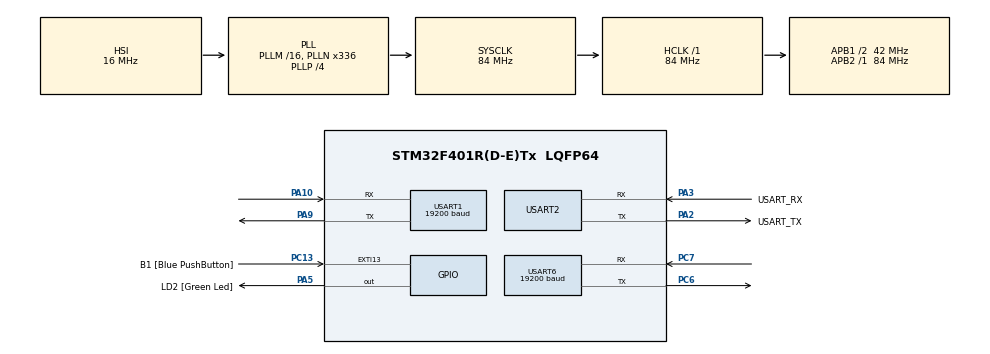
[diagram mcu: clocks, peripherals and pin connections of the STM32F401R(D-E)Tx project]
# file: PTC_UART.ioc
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Mcu.Family=STM32F4
Mcu.Name=STM32F401R(D-E)Tx
Mcu.Package=LQFP64
NVIC.PriorityGroup=NVIC_PRIORITYGROUP_0
NVIC.USART1_IRQn=true\:0\:0\:false\:false\:true\:true\:true\:true
NVIC.USART6_IRQn=true\:0\:0\:false\:false\:true\:true\:true\:true
PA10.Mode=Asynchronous
PA10.Signal=USART1_RX
PA13.GPIO_Label=TMS
PA13.Mode=Serial_Wire
PA13.Signal=SYS_JTMS-SWDIO
PA14.GPIO_Label=TCK
PA14.Mode=Serial_Wire
PA14.Signal=SYS_JTCK-SWCLK
PA2.GPIO_Label=USART_TX
PA2.GPIO_Mode=GPIO_MODE_AF_PP
PA2.GPIO_PuPd=GPIO_NOPULL
PA2.GPIO_Speed=GPIO_SPEED_FREQ_LOW
PA2.Mode=Asynchronous
PA2.Signal=USART2_TX
PA3.GPIO_Label=USART_RX
PA3.GPIO_Mode=GPIO_MODE_AF_PP
PA3.GPIO_PuPd=GPIO_NOPULL
PA3.GPIO_Speed=GPIO_SPEED_FREQ_LOW
PA3.Mode=Asynchronous
PA3.Signal=USART2_RX
PA5.GPIO_Label=LD2 [Green Led]
PA5.GPIO_Mode=GPIO_MODE_OUTPUT_PP
PA5.GPIO_PuPd=GPIO_NOPULL
PA5.GPIO_Speed=GPIO_SPEED_FREQ_LOW
PA5.Signal=GPIO_Output
PA9.Mode=Asynchronous
PA9.Signal=USART1_TX
PB3.GPIO_Label=SWO
PB3.Signal=SYS_JTDO-SWO
PC13-ANTI_TAMP.GPIO_Label=B1 [Blue PushButton]
PC13-ANTI_TAMP.GPIO_ModeDefaultEXTI=GPIO_MODE_IT_FALLING
PC13-ANTI_TAMP.GPIO_PuPd=GPIO_NOPULL
PC13-ANTI_TAMP.Signal=GPXTI13
PC14-OSC32_IN.Mode=LSE-External-Oscillator
PC14-OSC32_IN.Signal=RCC_OSC32_IN
PC15-OSC32_OUT.Mode=LSE-External-Oscillator
PC15-OSC32_OUT.Signal=RCC_OSC32_OUT
PC6.GPIO_ModeDefaultPP=GPIO_MODE_AF_OD
PC6.Mode=Asynchronous
PC6.Signal=USART6_TX
PC7.Mode=Asynchronous
PC7.Signal=USART6_RX
PH0\ -\ OSC_IN.Mode=HSE-External-Clock-Source
PH0\ -\ OSC_IN.Signal=RCC_OSC_IN
PH1\ -\ OSC_OUT.Mode=HSE-External-Clock-Source
PH1\ -\ OSC_OUT.Signal=RCC_OSC_OUT
ProjectManager.HeapSize=0x200
ProjectManager.StackSize=0x400
ProjectManager.TargetToolchain=STM32CubeIDE
RCC.48MHZClocksFreq_Value=48000000
RCC.AHBFreq_Value=84000000
RCC.APB1CLKDivider=RCC_HCLK_DIV2
RCC.APB1Freq_Value=42000000
RCC.APB1TimFreq_Value=84000000
RCC.APB2Freq_Value=84000000
RCC.APB2TimFreq_Value=84000000
RCC.CortexFreq_Value=84000000
RCC.HCLKFreq_Value=84000000
RCC.HSE_VALUE=8000000
RCC.HSI_VALUE=16000000
RCC.PLLN=336
RCC.PLLP=RCC_PLLP_DIV4
RCC.PLLQ=7
RCC.SYSCLKFreq_VALUE=84000000
RCC.SYSCLKSource=RCC_SYSCLKSOURCE_PLLCLK
RCC.VCOOutputFreq_Value=336000000
USART1.BaudRate=19200
USART1.VirtualMode=VM_ASYNC
USART2.VirtualMode=VM_ASYNC
USART6.BaudRate=19200
USART6.VirtualMode=VM_ASYNC
board=NUCLEO-F401RE

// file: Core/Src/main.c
/* USER CODE BEGIN Header */
/**
  ******************************************************************************
  * @file           : main.c
  * @brief          : Main program body
  ******************************************************************************
  * @attention
  *
  * Copyright (c) 2023 STMicroelectronics.
  * All rights reserved.
  *
  * This software is licensed under terms that can be found in the LICENSE file
  * in the root directory of this software component.
  * If no LICENSE file comes with this software, it is provided AS-IS.
  *
  ******************************************************************************
  */
/* USER CODE END Header */
#include "main.h"

/* USER CODE BEGIN Includes */
#include "string.h"
#include "autonomie.h"

//#include "../UART_comm/handleCmd.h"
/* USER CODE END Includes */

/* USER CODE BEGIN PD */
#define ASCII_ESC "\033"
#define CLEAR_CONSOLE "\033[2J"
/* USER CODE END PD */

UART_HandleTypeDef huart1;
UART_HandleTypeDef huart2;
UART_HandleTypeDef huart6;

/* USER CODE BEGIN PV */
unsigned char received, serializerResp[100];
char commande[27];
/* USER CODE END PV */

void SystemClock_Config(void);
static void MX_GPIO_Init(void);
static void MX_USART1_UART_Init(void);
static void MX_USART6_UART_Init(void);
static void MX_USART2_UART_Init(void);

/* USER CODE BEGIN 0 */
void HAL_UART_RxCpltCallback(UART_HandleTypeDef *huart)
{

	if (huart == &huart1){ // commande recue de la PI
		HAL_UART_Transmit(&huart1, &received, 1,HAL_MAX_DELAY);
		HAL_UART_Transmit(&huart1, (unsigned char*)'\n', 1,HAL_MAX_DELAY);
		if (received == 'z'){
			forward_back(50.0,'-','-',commande);
			HAL_UART_Transmit(&huart6, (unsigned char *)commande, strlen(commande),HAL_MAX_DELAY);
		}
		else if (received == 'a'){
			HAL_UART_Transmit(&huart6, (unsigned char *)"stop\r",5,HAL_MAX_DELAY);
		}
		else if (received == 'q'){
			turn_forward(-1, commande);
			HAL_UART_Transmit(&huart6,(unsigned char*)commande,strlen(commande),HAL_MAX_DELAY);
		}
		else if (received == 'd'){
			turn_forward(1, commande);
			HAL_UART_Transmit(&huart6,(unsigned char*)commande,strlen(commande),HAL_MAX_DELAY);
		}
		else if (received == 's'){
			forward_back(50.0,' ',' ', commande);
			HAL_UART_Transmit(&huart6,(unsigned char*)commande,strlen(commande),HAL_MAX_DELAY);
		}
		else if (received == 'x'){
			forward_back(42.0,' ',' ', commande);
			HAL_UART_Transmit(&huart6,(unsigned char*)commande,strlen(commande),HAL_MAX_DELAY);
		}
	}
	else if(huart == &huart6){ // commande recue du Serializer
		if (received != '>'){
			HAL_UART_Transmit(&huart1, &received, 1,HAL_MAX_DELAY);
		}
		else{
			HAL_UART_Transmit(&huart1, (unsigned char*)'\n', 1,HAL_MAX_DELAY);
		}
	}
    HAL_UART_Receive_IT(huart, &received, 1);
}

/* USER CODE END 0 */

int main(void)
{

  /* MCU Configuration--------------------------------------------------------*/

  /* Reset of all peripherals, Initializes the Flash interface and the Systick. */
  HAL_Init();

  /* Configure the system clock */
  SystemClock_Config();

  /* Initialize all configured peripherals */
  MX_GPIO_Init();
  MX_USART1_UART_Init();
  MX_USART6_UART_Init();
  MX_USART2_UART_Init();
  /* USER CODE BEGIN 2 */
  char message [20] = "UART initialized\n";
  HAL_GPIO_WritePin(LD2_GPIO_Port, LD2_Pin, GPIO_PIN_SET);
  HAL_UART_Transmit(&huart1, CLEAR_CONSOLE, strlen(CLEAR_CONSOLE), HAL_MAX_DELAY);
  HAL_UART_Transmit(&huart1, (unsigned char*)message, strlen(message), HAL_MAX_DELAY);

  HAL_UART_Receive_IT(&huart1, &received, 1);
  HAL_UART_Receive_IT(&huart6, &received, 1);

  /* USER CODE END 2 */

  /* Infinite loop */
  while (1)
  {

  }
}

void SystemClock_Config(void)
{
  RCC_OscInitTypeDef RCC_OscInitStruct = {0};
  RCC_ClkInitTypeDef RCC_ClkInitStruct = {0};

  /** Configure the main internal regulator output voltage
  */
  __HAL_RCC_PWR_CLK_ENABLE();
  __HAL_PWR_VOLTAGESCALING_CONFIG(PWR_REGULATOR_VOLTAGE_SCALE2);

  /** Initializes the RCC Oscillators according to the specified parameters
  * in the RCC_OscInitTypeDef structure.
  */
  RCC_OscInitStruct.OscillatorType = RCC_OSCILLATORTYPE_HSI;
  RCC_OscInitStruct.HSIState = RCC_HSI_ON;
  RCC_OscInitStruct.HSICalibrationValue = RCC_HSICALIBRATION_DEFAULT;
  RCC_OscInitStruct.PLL.PLLState = RCC_PLL_ON;
  RCC_OscInitStruct.PLL.PLLSource = RCC_PLLSOURCE_HSI;
  RCC_OscInitStruct.PLL.PLLM = 16;
  RCC_OscInitStruct.PLL.PLLN = 336;
  RCC_OscInitStruct.PLL.PLLP = RCC_PLLP_DIV4;
  RCC_OscInitStruct.PLL.PLLQ = 7;
  if (HAL_RCC_OscConfig(&RCC_OscInitStruct) != HAL_OK)
  {
    Error_Handler();
  }

  /** Initializes the CPU, AHB and APB buses clocks
  */
  RCC_ClkInitStruct.ClockType = RCC_CLOCKTYPE_HCLK|RCC_CLOCKTYPE_SYSCLK
                              |RCC_CLOCKTYPE_PCLK1|RCC_CLOCKTYPE_PCLK2;
  RCC_ClkInitStruct.SYSCLKSource = RCC_SYSCLKSOURCE_PLLCLK;
  RCC_ClkInitStruct.AHBCLKDivider = RCC_SYSCLK_DIV1;
  RCC_ClkInitStruct.APB1CLKDivider = RCC_HCLK_DIV2;
  RCC_ClkInitStruct.APB2CLKDivider = RCC_HCLK_DIV1;

  if (HAL_RCC_ClockConfig(&RCC_ClkInitStruct, FLASH_LATENCY_2) != HAL_OK)
  {
    Error_Handler();
  }
}

static void MX_USART1_UART_Init(void)
{

  huart1.Instance = USART1;
  huart1.Init.BaudRate = 19200;
  huart1.Init.WordLength = UART_WORDLENGTH_8B;
  huart1.Init.StopBits = UART_STOPBITS_1;
  huart1.Init.Parity = UART_PARITY_NONE;
  huart1.Init.Mode = UART_MODE_TX_RX;
  huart1.Init.HwFlowCtl = UART_HWCONTROL_NONE;
  huart1.Init.OverSampling = UART_OVERSAMPLING_16;
  if (HAL_UART_Init(&huart1) != HAL_OK)
  {
    Error_Handler();
  }

}

static void MX_USART2_UART_Init(void)
{

  huart2.Instance = USART2;
  huart2.Init.BaudRate = 115200;
  huart2.Init.WordLength = UART_WORDLENGTH_8B;
  huart2.Init.StopBits = UART_STOPBITS_1;
  huart2.Init.Parity = UART_PARITY_NONE;
  huart2.Init.Mode = UART_MODE_TX_RX;
  huart2.Init.HwFlowCtl = UART_HWCONTROL_NONE;
  huart2.Init.OverSampling = UART_OVERSAMPLING_16;
  if (HAL_UART_Init(&huart2) != HAL_OK)
  {
    Error_Handler();
  }

}

static void MX_USART6_UART_Init(void)
{

  huart6.Instance = USART6;
  huart6.Init.BaudRate = 19200;
  huart6.Init.WordLength = UART_WORDLENGTH_8B;
  huart6.Init.StopBits = UART_STOPBITS_1;
  huart6.Init.Parity = UART_PARITY_NONE;
  huart6.Init.Mode = UART_MODE_TX_RX;
  huart6.Init.HwFlowCtl = UART_HWCONTROL_NONE;
  huart6.Init.OverSampling = UART_OVERSAMPLING_16;
  if (HAL_UART_Init(&huart6) != HAL_OK)
  {
    Error_Handler();
  }

}

static void MX_GPIO_Init(void)
{
  GPIO_InitTypeDef GPIO_InitStruct = {0};

  /* GPIO Ports Clock Enable */
  __HAL_RCC_GPIOC_CLK_ENABLE();
  __HAL_RCC_GPIOH_CLK_ENABLE();
  __HAL_RCC_GPIOA_CLK_ENABLE();
  __HAL_RCC_GPIOB_CLK_ENABLE();

  /*Configure GPIO pin Output Level */
  HAL_GPIO_WritePin(LD2_GPIO_Port, LD2_Pin, GPIO_PIN_RESET);

  /*Configure GPIO pin : B1_Pin */
  GPIO_InitStruct.Pin = B1_Pin;
  GPIO_InitStruct.Mode = GPIO_MODE_IT_FALLING;
  GPIO_InitStruct.Pull = GPIO_NOPULL;
  HAL_GPIO_Init(B1_GPIO_Port, &GPIO_InitStruct);

  /*Configure GPIO pin : LD2_Pin */
  GPIO_InitStruct.Pin = LD2_Pin;
  GPIO_InitStruct.Mode = GPIO_MODE_OUTPUT_PP;
  GPIO_InitStruct.Pull = GPIO_NOPULL;
  GPIO_InitStruct.Speed = GPIO_SPEED_FREQ_LOW;
  HAL_GPIO_Init(LD2_GPIO_Port, &GPIO_InitStruct);

}

void Error_Handler(void)
{
  __disable_irq();
  while (1)
  {
  }
}
